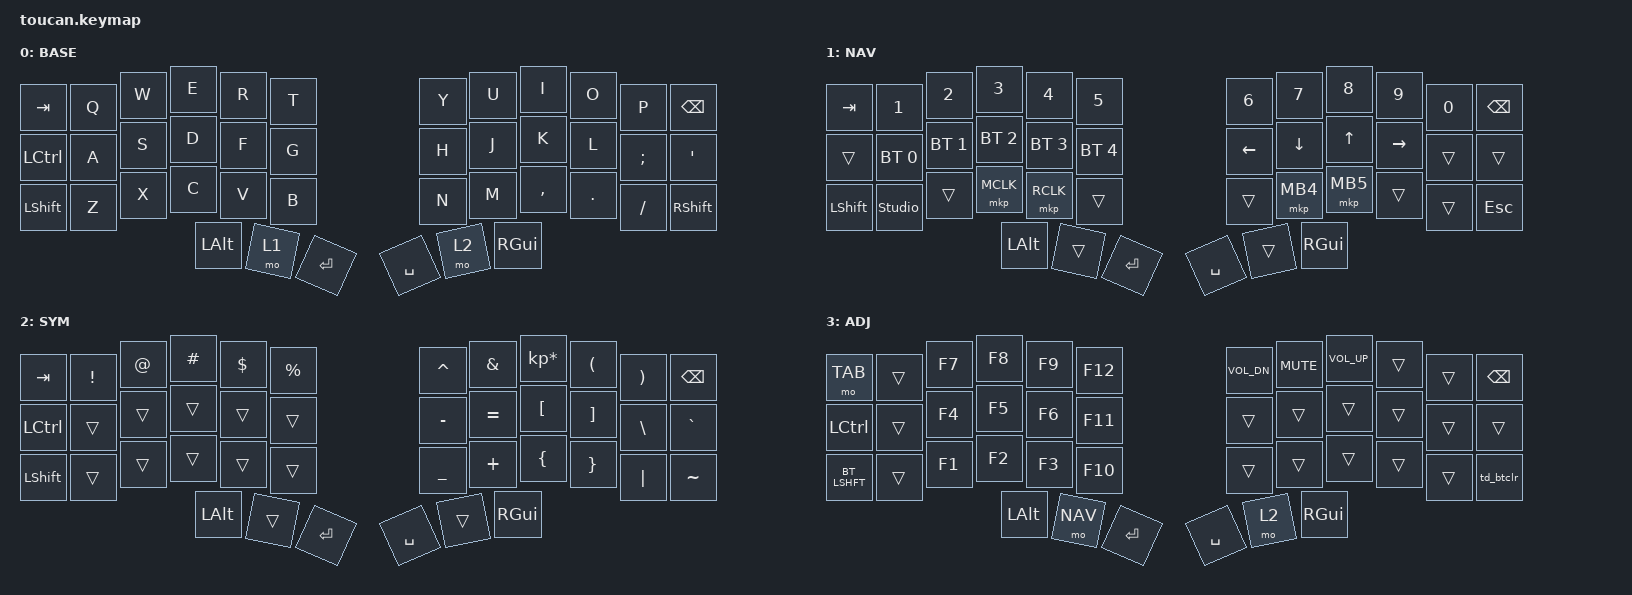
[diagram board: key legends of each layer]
#include <behaviors.dtsi>
#include <dt-bindings/zmk/keys.h>
#include <dt-bindings/zmk/bt.h>
#include <dt-bindings/zmk/outputs.h>
#include <dt-bindings/zmk/mouse.h>

#define BASE 0
#define NAV  1
#define SYM  2
#define ADJ  3

/ {
    behaviors {
        td_btclr: td_btclr {
            compatible = "zmk,behavior-tap-dance";
            #binding-cells = <0>;
            tapping-term-ms = <200>;
            bindings = <&none>, <&bt BT_CLR>;
        };
    };

    conditional_layers {
        compatible = "zmk,conditional-layers";
        tri_layer {
            if-layers = <1 2>;
            then-layer = <3>;
        };
    };

    keymap {
        compatible = "zmk,keymap";

        base {
            display-name = "BASE";
            bindings = <
                &kp TAB   &kp Q &kp W &kp E &kp R &kp T   &kp Y &kp U  &kp I     &kp O   &kp P    &kp BSPC
                &kp LCTRL &kp A &kp S &kp D &kp F &kp G   &kp H &kp J  &kp K     &kp L   &kp SEMI &kp SQT
                &kp LSHFT &kp Z &kp X &kp C &kp V &kp B   &kp N &kp M  &kp COMMA &kp DOT &kp FSLH &kp RSHFT
                                &kp LALT &mo 1 &kp RET   &kp SPACE &mo 2 &kp RGUI
            >;
        };

        nav {
            display-name = "NAV";
            bindings = <
                &kp TAB     &kp N1          &kp N2       &kp N3       &kp N4       &kp N5         &kp N6   &kp N7   &kp N8 &kp N9    &kp N0 &kp BSPC
                &trans      &bt BT_SEL 0    &bt BT_SEL 1 &bt BT_SEL 2 &bt BT_SEL 3 &bt BT_SEL 4   &kp LEFT &kp DOWN &kp UP &kp RIGHT &trans &trans
                &kp LSHFT   &studio_unlock  &trans       &mkp MCLK    &mkp RCLK    &trans         &trans   &mkp MB4 &mkp MB5 &trans    &trans &kp ESC
                                                &kp LALT     &trans       &kp RET      &kp SPACE  &trans   &kp RGUI
            >;
        };

        sym {
            display-name = "SYM";
            bindings = <
                &kp TAB   &kp EXCL &kp AT &kp HASH &kp DLLR &kp PRCNT   &kp CARET &kp AMPS  &kp KP_MULTIPLY &kp LPAR &kp RPAR &kp BSPC
                &kp LCTRL &trans   &trans &trans   &trans   &trans      &kp MINUS &kp EQUAL &kp LBKT        &kp RBKT &kp BSLH &kp GRAVE
                &kp LSHFT &trans   &trans &trans   &trans   &trans      &kp UNDER &kp PLUS  &kp LBRC        &kp RBRC &kp PIPE &kp TILDE
                                          &kp LALT &trans   &kp RET   &kp SPACE   &trans    &kp RGUI
            >;
        };

        adj {
            display-name = "ADJ";
            bindings = <
                &mo TAB   &trans &kp F7 &kp F8 &kp F9 &kp F12   &kp C_VOL_DN &kp C_MUTE  &kp C_VOL_UP &trans &trans &kp BSPC
                &kp LCTRL &trans &kp F4 &kp F5 &kp F6 &kp F11   &trans       &trans      &trans       &trans &trans &trans
                &bt LSHFT &trans &kp F1 &kp F2 &kp F3 &kp F10   &trans       &trans      &trans       &trans &trans &td_btclr
                                   &kp LALT &mo NAV &kp RET   &kp SPACE &mo 2 &kp RGUI
            >;
        };
        extra_1 {
                status = "reserved";
        };

        extra_2 {
                status = "reserved";
        };

        extra_3 {
                status = "reserved";
        };
    };
};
